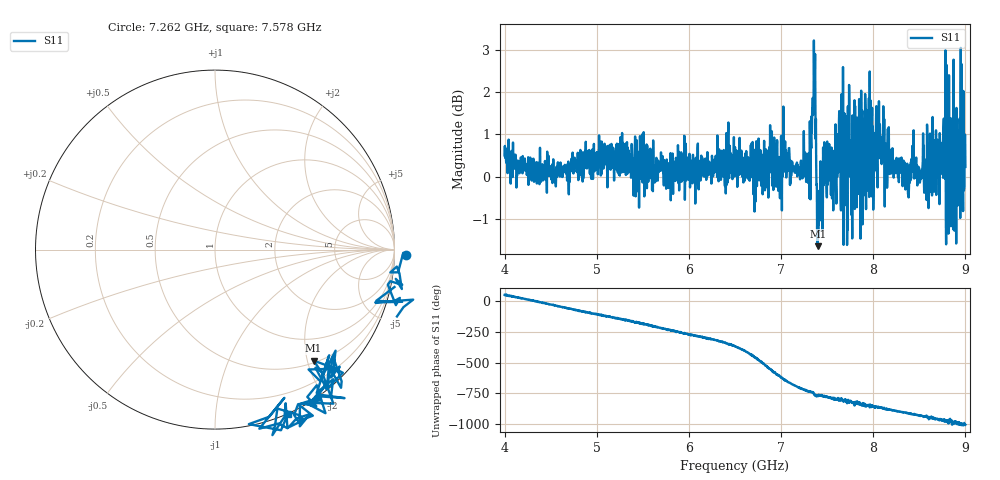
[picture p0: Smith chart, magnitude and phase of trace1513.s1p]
! Created with skrf 1.8.0 (http://scikit-rf.org).
# Hz S RI R 50.0
!freq ReS11 ImS11
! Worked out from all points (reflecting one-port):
!   1601 points, 4 GHz to 9 GHz, reference 50 ohm
!   lowest |S11| = -1.6 dB at 7.397 GHz (marker M1), VSWR 10.58, Z = 26.9 - j106 ohm
!   phase of S11 starts at 49 deg and turns -1052 deg over the sweep
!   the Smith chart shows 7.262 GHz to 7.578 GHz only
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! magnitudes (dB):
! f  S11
! 4 GHz  0.5
! 4.625 GHz  0.0
! 5.25 GHz  0.0
! 5.875 GHz  0.0
! 6.5 GHz  0.7
! 6.725 GHz  -0.2
! 6.875 GHz  0.7
! 6.984 GHz  -0.1
! 7.038 GHz  0.5
! 7.125 GHz  0.2
! 7.294 GHz  -0.2
! 7.353 GHz  1.8
! 7.397 GHz  -1.6
! 7.416 GHz  -0.3
! 7.525 GHz  0.5
! 7.588 GHz  0.1
! 7.65 GHz  -0.8
! 7.703 GHz  -0.6
! 7.75 GHz  0.0
! 7.784 GHz  0.6
! 7.856 GHz  0.4
! 8.088 GHz  0.4
! 8.375 GHz  -0.1
! 8.734 GHz  0.3
! 8.788 GHz  -1.0
! 8.9 GHz  -1.6
! 8.972 GHz  0.3
! 9 GHz  0.2
